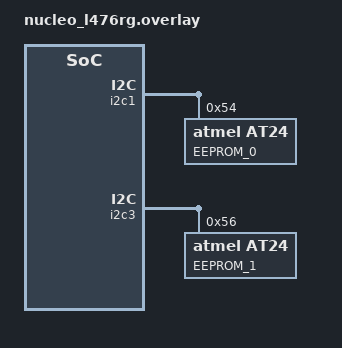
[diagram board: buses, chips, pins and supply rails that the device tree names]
/*
 * Copyright (c) 2020 Nordic Smiconductor ASA
 * SPDX-License-Identifier: Apache-2.0
 */

/* I2C bus pins are exposed in the Arduino Uno header.
 *
 *  Bus        SDA          SCL
 *          Pin   Hdr    Pin   Hdr
 *  i2c1    PB9   D14    PB8   D15
 *  i2c3    PC1   A4     PC0   A5
 *
 * Short D14 to A4, and D15 to A5, for the test to pass.
 */

&i2c1 {
	eeprom0: eeprom@54 {
		compatible = "atmel,at24";
		reg = <0x54>;
		label = "EEPROM_0";
		size = <1024>;
		pagesize = <16>;
		address-width = <8>;
		timeout = <5>;
	};
};

&i2c3 {
	eeprom1: eeprom@56 {
		compatible = "atmel,at24";
		reg = <0x56>;
		label = "EEPROM_1";
		size = <1024>;
		pagesize = <16>;
		address-width = <8>;
		timeout = <5>;
	};
};
